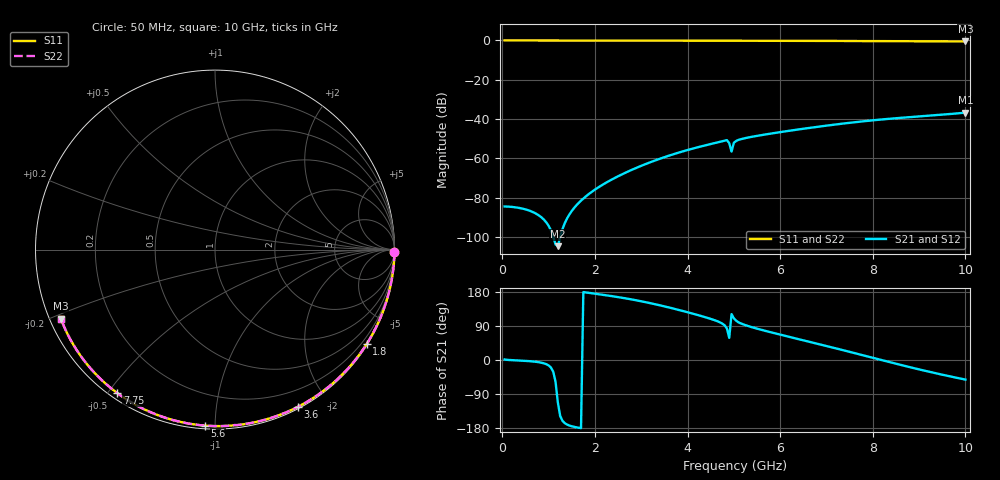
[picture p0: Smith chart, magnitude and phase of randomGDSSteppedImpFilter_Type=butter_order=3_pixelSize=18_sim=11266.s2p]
! freq	dB(S11)	phase(S11)	dB(S12)	phase(S12)
!  dB(S21)	phase(S21)	dB(S22)	phase(S22)
!S-par simulation data
#  GHz  S  DB  R 50
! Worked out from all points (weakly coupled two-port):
!   200 points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, 50 MHz to 10 GHz, reference 50 ohm
!   highest |S21| = -36.69 dB at 10 GHz (marker M1); lowest = -104.6 dB at 1.2 GHz (marker M2)
!   lowest |S11| = -0.5 dB at 10 GHz (marker M3), VSWR 32.94, Z = 1.59 - j10.7 ohm
!   |S11| at or under -10 dB: nowhere
!   |S22| runs from -0.5 to 0.0 dB; largest |S21 - S12| = 0
!   S11 on the Smith chart (normalised r, x): 50 MHz: open; 1.8 GHz: 0.03, -3.49; 3.6 GHz: 0.02, -1.66; 5.6 GHz: 0.02, -0.94; 7.75 GHz: 0.02, -0.53; 10 GHz: 0.03, -0.21
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0.05  -0.00 -0.9  -84.39 1.4  -84.39 1.4  -0.00 -0.9
1.2  -0.03 -21.5  -104.57 -112.5  -104.57 -112.5  -0.03 -21.5
1.75  -0.04 -31.1  -80.34 179.2  -80.34 179.2  -0.04 -31.1
1.8  -0.04 -32.0  -79.34 178.3  -79.34 178.3  -0.04 -32.0
2.1  -0.05 -37.2  -74.30 173.3  -74.30 173.3  -0.05 -37.2
2.45  -0.06 -43.2  -69.64 167.0  -69.64 167.0  -0.06 -43.2
2.9  -0.07 -50.7  -64.70 157.4  -64.70 157.4  -0.07 -50.7
3.4  -0.08 -59.0  -60.15 144.4  -60.15 144.4  -0.08 -59.0
3.6  -0.08 -62.3  -58.55 138.6  -58.55 138.6  -0.08 -62.3
4.15  -0.10 -71.1  -54.73 121.1  -54.73 121.1  -0.10 -71.1
4.85  -0.12 -82.0  -50.67 83.2  -50.67 83.2  -0.12 -82.0
4.9  -0.13 -82.8  -52.19 58.4  -52.19 58.4  -0.13 -82.8
4.95  -0.14 -83.6  -56.51 121.1  -56.51 121.1  -0.14 -83.6
5  -0.13 -84.3  -52.03 110.0  -52.03 110.0  -0.13 -84.3
5.05  -0.13 -85.1  -51.07 103.6  -51.07 103.6  -0.13 -85.1
5.25  -0.14 -88.1  -49.63 91.9  -49.63 91.9  -0.14 -88.1
5.6  -0.16 -93.4  -48.10 79.4  -48.10 79.4  -0.16 -93.4
6.7  -0.21 -109.4  -44.23 46.0  -44.23 46.0  -0.21 -109.4
7.75  -0.29 -124.3  -41.21 13.7  -41.21 13.7  -0.29 -124.3
8.35  -0.34 -132.7  -39.83 -5.2  -39.83 -5.2  -0.34 -132.7
9.2  -0.43 -144.5  -38.25 -30.5  -38.25 -30.5  -0.43 -144.5
10  -0.53 -155.8  -36.69 -51.7  -36.69 -51.7  -0.53 -155.8
